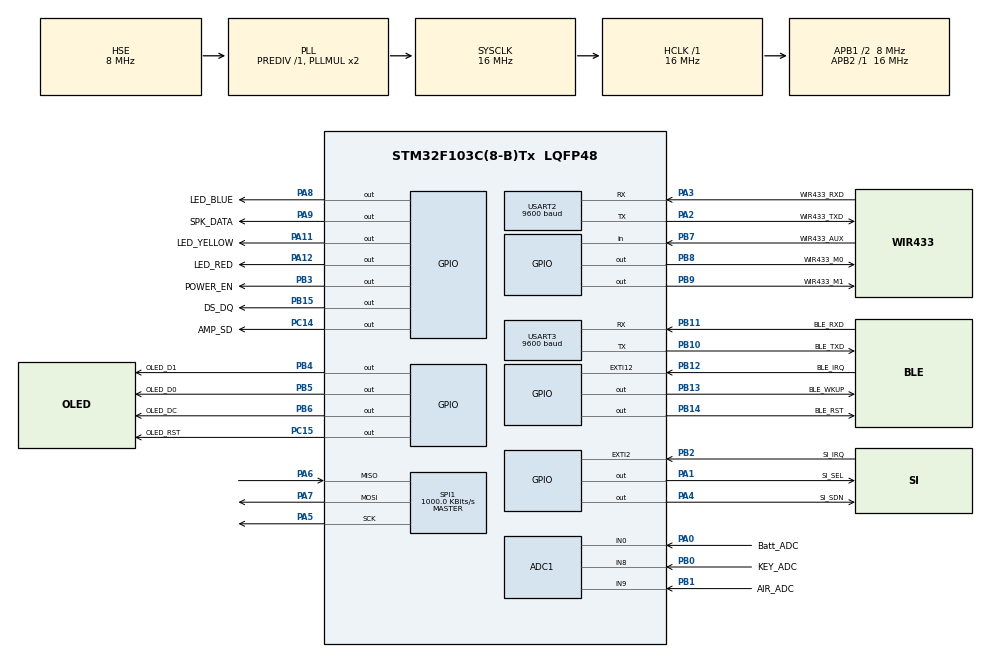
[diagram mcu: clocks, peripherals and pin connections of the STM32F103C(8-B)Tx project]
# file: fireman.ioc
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ADC1.Channel-0\#ChannelRegularConversion=ADC_CHANNEL_0
ADC1.Channel-1\#ChannelRegularConversion=ADC_CHANNEL_8
ADC1.Channel-2\#ChannelRegularConversion=ADC_CHANNEL_9
ADC1.ContinuousConvMode=ENABLE
ADC1.DataAlign=ADC_DATAALIGN_RIGHT
ADC1.DiscontinuousConvMode=DISABLE
ADC1.EnableAnalogWatchDog=false
ADC1.EnableRegularConversion=ENABLE
ADC1.ExternalTrigConv=ADC_SOFTWARE_START
ADC1.InjNumberOfConversion=0
ADC1.NbrOfConversion=3
ADC1.NbrOfConversionFlag=1
ADC1.Rank-0\#ChannelRegularConversion=1
ADC1.Rank-1\#ChannelRegularConversion=2
ADC1.Rank-2\#ChannelRegularConversion=3
ADC1.SamplingTime-0\#ChannelRegularConversion=ADC_SAMPLETIME_13CYCLES_5
ADC1.SamplingTime-1\#ChannelRegularConversion=ADC_SAMPLETIME_13CYCLES_5
ADC1.SamplingTime-2\#ChannelRegularConversion=ADC_SAMPLETIME_13CYCLES_5
ADC1.ScanConvMode=ADC_SCAN_ENABLE
ADC1.master=1
Dma.ADC1.2.Direction=DMA_PERIPH_TO_MEMORY
Dma.ADC1.2.Instance=DMA1_Channel1
Dma.ADC1.2.MemDataAlignment=DMA_MDATAALIGN_HALFWORD
Dma.ADC1.2.MemInc=DMA_MINC_ENABLE
Dma.ADC1.2.Mode=DMA_CIRCULAR
Dma.ADC1.2.PeriphDataAlignment=DMA_PDATAALIGN_HALFWORD
Dma.ADC1.2.PeriphInc=DMA_PINC_DISABLE
Dma.ADC1.2.Priority=DMA_PRIORITY_LOW
Dma.Request0=USART2_RX
Dma.Request1=USART2_TX
Dma.Request2=ADC1
Dma.Request3=USART3_RX
Dma.Request4=USART3_TX
Dma.USART2_RX.0.Direction=DMA_PERIPH_TO_MEMORY
Dma.USART2_RX.0.Instance=DMA1_Channel6
Dma.USART2_RX.0.MemDataAlignment=DMA_MDATAALIGN_BYTE
Dma.USART2_RX.0.MemInc=DMA_MINC_ENABLE
Dma.USART2_RX.0.Mode=DMA_NORMAL
Dma.USART2_RX.0.PeriphDataAlignment=DMA_PDATAALIGN_BYTE
Dma.USART2_RX.0.PeriphInc=DMA_PINC_DISABLE
Dma.USART2_RX.0.Priority=DMA_PRIORITY_LOW
Dma.USART2_TX.1.Direction=DMA_MEMORY_TO_PERIPH
Dma.USART2_TX.1.Instance=DMA1_Channel7
Dma.USART2_TX.1.MemDataAlignment=DMA_MDATAALIGN_BYTE
Dma.USART2_TX.1.MemInc=DMA_MINC_ENABLE
Dma.USART2_TX.1.Mode=DMA_NORMAL
Dma.USART2_TX.1.PeriphDataAlignment=DMA_PDATAALIGN_BYTE
Dma.USART2_TX.1.PeriphInc=DMA_PINC_DISABLE
Dma.USART2_TX.1.Priority=DMA_PRIORITY_LOW
Dma.USART3_RX.3.Direction=DMA_PERIPH_TO_MEMORY
Dma.USART3_RX.3.Instance=DMA1_Channel3
Dma.USART3_RX.3.MemDataAlignment=DMA_MDATAALIGN_BYTE
Dma.USART3_RX.3.MemInc=DMA_MINC_ENABLE
Dma.USART3_RX.3.Mode=DMA_NORMAL
Dma.USART3_RX.3.PeriphDataAlignment=DMA_PDATAALIGN_BYTE
Dma.USART3_RX.3.PeriphInc=DMA_PINC_DISABLE
Dma.USART3_RX.3.Priority=DMA_PRIORITY_LOW
Dma.USART3_TX.4.Direction=DMA_MEMORY_TO_PERIPH
Dma.USART3_TX.4.Instance=DMA1_Channel2
Dma.USART3_TX.4.MemDataAlignment=DMA_MDATAALIGN_BYTE
Dma.USART3_TX.4.MemInc=DMA_MINC_ENABLE
Dma.USART3_TX.4.Mode=DMA_NORMAL
Dma.USART3_TX.4.PeriphDataAlignment=DMA_PDATAALIGN_BYTE
Dma.USART3_TX.4.PeriphInc=DMA_PINC_DISABLE
Dma.USART3_TX.4.Priority=DMA_PRIORITY_LOW
Mcu.Family=STM32F1
Mcu.Name=STM32F103C(8-B)Tx
Mcu.Package=LQFP48
NVIC.DMA1_Channel1_IRQn=true\:0\:0\:false\:false\:true
NVIC.DMA1_Channel2_IRQn=true\:0\:0\:false\:false\:true
NVIC.DMA1_Channel3_IRQn=true\:0\:0\:false\:false\:true
NVIC.DMA1_Channel6_IRQn=true\:0\:0\:false\:false\:true
NVIC.DMA1_Channel7_IRQn=true\:0\:0\:false\:false\:true
NVIC.EXTI15_10_IRQn=true\:0\:0\:false\:false\:true
NVIC.PriorityGroup=NVIC_PRIORITYGROUP_4
NVIC.RTC_Alarm_IRQn=true\:0\:0\:false\:false\:true
NVIC.TIM1_UP_IRQn=true\:0\:0\:false\:false\:true
NVIC.USART2_IRQn=true\:0\:0\:false\:false\:true
NVIC.USART3_IRQn=true\:0\:0\:false\:false\:true
PA0-WKUP.GPIO_Label=Batt_ADC
PA0-WKUP.Signal=ADCx_IN0
PA1.GPIO_Label=SI_SEL
PA1.Signal=GPIO_Output
PA11.GPIO_Label=LED_YELLOW
PA11.Signal=GPIO_Output
PA12.GPIO_Label=LED_RED
PA12.Signal=GPIO_Output
PA13.Mode=Serial_Wire
PA13.Signal=SYS_JTMS-SWDIO
PA14.Mode=Serial_Wire
PA14.Signal=SYS_JTCK-SWCLK
PA2.GPIO_Label=WIR433_TXD
PA2.Mode=Asynchronous
PA2.Signal=USART2_TX
PA3.GPIO_Label=WIR433_RXD
PA3.Mode=Asynchronous
PA3.Signal=USART2_RX
PA4.GPIO_Label=SI_SDN
PA4.Signal=GPIO_Output
PA5.Mode=Full_Duplex_Master
PA5.Signal=SPI1_SCK
PA6.GPIO_PuPd=GPIO_PULLUP
PA6.Mode=Full_Duplex_Master
PA6.Signal=SPI1_MISO
PA7.Mode=Full_Duplex_Master
PA7.Signal=SPI1_MOSI
PA8.GPIO_Label=LED_BLUE
PA8.Signal=GPIO_Output
PA9.GPIO_Label=SPK_DATA
PA9.Signal=GPIO_Output
PB0.GPIO_Label=KEY_ADC
PB0.Signal=ADCx_IN8
PB1.GPIO_Label=AIR_ADC
PB1.Signal=ADCx_IN9
PB10.GPIO_Label=BLE_TXD
PB10.Mode=Asynchronous
PB10.Signal=USART3_TX
PB11.GPIO_Label=BLE_RXD
PB11.Mode=Asynchronous
PB11.Signal=USART3_RX
PB12.GPIO_Label=BLE_IRQ
PB12.GPIO_PuPd=GPIO_PULLUP
PB12.Signal=GPXTI12
PB13.GPIO_Label=BLE_WKUP
PB13.Signal=GPIO_Output
PB14.GPIO_Label=BLE_RST
PB14.Signal=GPIO_Output
PB15.GPIO_Label=DS_DQ
PB15.Signal=GPIO_Output
PB2.GPIO_Label=SI_IRQ
PB2.GPIO_PuPd=GPIO_PULLUP
PB2.Signal=GPXTI2
PB3.GPIO_Label=POWER_EN
PB3.Signal=GPIO_Output
PB4.GPIO_Label=OLED_D1
PB4.Signal=GPIO_Output
PB5.GPIO_Label=OLED_D0
PB5.Signal=GPIO_Output
PB6.GPIO_Label=OLED_DC
PB6.Signal=GPIO_Output
PB7.GPIO_Label=WIR433_AUX
PB7.GPIO_PuPd=GPIO_PULLUP
PB7.Signal=GPIO_Input
PB8.GPIO_Label=WIR433_M0
PB8.Signal=GPIO_Output
PB9.GPIO_Label=WIR433_M1
PB9.Signal=GPIO_Output
PC14-OSC32_IN.GPIO_Label=AMP_SD
PC14-OSC32_IN.Signal=GPIO_Output
PC15-OSC32_OUT.GPIO_Label=OLED_RST
PC15-OSC32_OUT.Signal=GPIO_Output
PD0-OSC_IN.Mode=HSE-External-Oscillator
PD0-OSC_IN.Signal=RCC_OSC_IN
PD1-OSC_OUT.Mode=HSE-External-Oscillator
PD1-OSC_OUT.Signal=RCC_OSC_OUT
ProjectManager.HeapSize=0x200
ProjectManager.StackSize=0x400
ProjectManager.TargetToolchain=MDK-ARM V5
RCC.ADCPresc=RCC_ADCPCLK2_DIV6
RCC.AHBFreq_Value=16000000
RCC.APB1CLKDivider=RCC_HCLK_DIV2
RCC.APB1Freq_Value=8000000
RCC.APB1TimFreq_Value=16000000
RCC.APB2Freq_Value=16000000
RCC.APB2TimFreq_Value=16000000
RCC.HCLKFreq_Value=16000000
RCC.PLLSourceVirtual=RCC_PLLSOURCE_HSE
RCC.SYSCLKFreq_VALUE=16000000
RCC.SYSCLKSource=RCC_SYSCLKSOURCE_PLLCLK
RCC.TimSys_Div=SYSTICK_CLKSOURCE_HCLK_DIV8
RCC.USBFreq_Value=16000000
SH.ADCx_IN0.0=ADC1_IN0,IN0
SH.ADCx_IN8.0=ADC1_IN8,IN8
SH.ADCx_IN9.0=ADC1_IN9,IN9
SPI1.BaudRatePrescaler=SPI_BAUDRATEPRESCALER_16
SPI1.CLKPhase=SPI_PHASE_1EDGE
SPI1.CalculateBaudRate=1000.0 KBits/s
SPI1.Direction=SPI_DIRECTION_2LINES
SPI1.Mode=SPI_MODE_MASTER
SPI1.VirtualType=VM_MASTER
TIM1.Period=999
TIM1.Prescaler=15
USART2.BaudRate=9600
USART2.VirtualMode=VM_ASYNC
USART3.BaudRate=9600
USART3.VirtualMode=VM_ASYNC
VP_RTC_No_RTC_Output.Mode=RTC_OUT_NO
VP_RTC_VS_RTC_Activate.Mode=RTC_Enabled
VP_TIM1_VS_ClockSourceINT.Mode=Internal
board=fireman

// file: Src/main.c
/**
  ******************************************************************************
  * File Name          : main.c
  * Description        : Main program body
  ******************************************************************************
  ** This notice applies to any and all portions of this file
  * that are not between comment pairs USER CODE BEGIN and
  * USER CODE END. Other portions of this file, whether
  * inserted by the user or by software development tools
  * are owned by their respective copyright owners.
  *
  * COPYRIGHT(c) 2018 STMicroelectronics
  *
  * Redistribution and use in source and binary forms, with or without modification,
  * are permitted provided that the following conditions are met:
  *   1. Redistributions of source code must retain the above copyright notice,
  *      this list of conditions and the following disclaimer.
  *   2. Redistributions in binary form must reproduce the above copyright notice,
  *      this list of conditions and the following disclaimer in the documentation
  *      and/or other materials provided with the distribution.
  *   3. Neither the name of STMicroelectronics nor the names of its contributors
  *      may be used to endorse or promote products derived from this software
  *      without specific prior written permission.
  *
  * THIS SOFTWARE IS PROVIDED BY THE COPYRIGHT HOLDERS AND CONTRIBUTORS "AS IS"
  * AND ANY EXPRESS OR IMPLIED WARRANTIES, INCLUDING, BUT NOT LIMITED TO, THE
  * IMPLIED WARRANTIES OF MERCHANTABILITY AND FITNESS FOR A PARTICULAR PURPOSE ARE
  * DISCLAIMED. IN NO EVENT SHALL THE COPYRIGHT HOLDER OR CONTRIBUTORS BE LIABLE
  * FOR ANY DIRECT, INDIRECT, INCIDENTAL, SPECIAL, EXEMPLARY, OR CONSEQUENTIAL
  * DAMAGES (INCLUDING, BUT NOT LIMITED TO, PROCUREMENT OF SUBSTITUTE GOODS OR
  * SERVICES; LOSS OF USE, DATA, OR PROFITS; OR BUSINESS INTERRUPTION) HOWEVER
  * CAUSED AND ON ANY THEORY OF LIABILITY, WHETHER IN CONTRACT, STRICT LIABILITY,
  * OR TORT (INCLUDING NEGLIGENCE OR OTHERWISE) ARISING IN ANY WAY OUT OF THE USE
  * OF THIS SOFTWARE, EVEN IF ADVISED OF THE POSSIBILITY OF SUCH DAMAGE.
  *
  ******************************************************************************
  */
#include "main.h"
#include "stm32f1xx_hal.h"
#include "adc.h"
#include "dma.h"
#include "rtc.h"
#include "spi.h"
#include "tim.h"
#include "usart.h"
#include "gpio.h"

/* USER CODE BEGIN Includes */
#include "oled.h"
#include "led.h"
#include "display.h"
#include "ds18b20.h"
#include "ble.h"
#include "key.h"
#include "speak.h"
#include "stm_flash.h"
#include "wir433.h"
#include "./radio.h"
#include "./radio_app.h"
#include "../src/user/type.h"
#include "../src/user/stress.h"
/* USER CODE END Includes */

/* USER CODE BEGIN PV */
/* Private variables ---------------------------------------------------------*/
uint8_t sleepFlag=0;
uint16_t adcRawDate[50][3];
uint8_t status=STATUS_OFF;
para_struct_type para_struct;
uint8_t showPageNum=PAGE_RUN_ONE;
uint8_t selectedNum=1;
uint8_t keyPressStatus;
uint8_t keyDownStatus;
uint8_t keyHoldStatus;
uint16_t offTime=0;
uint32_t index_cnt;
uint16_t lcdCloseCount = 1200;//50ms单位
uint16_t sysCloseCount =0;

/* RTC handler declaration */
RTC_HandleTypeDef RtcHandle;

/* USER CODE END PV */

void SystemClock_Config(void);

/* USER CODE BEGIN PFP */
/* Private function prototypes -----------------------------------------------*/
uint16_t getAdcAfterFilt(uint8_t chanal ,uint8_t filt);
/* USER CODE END PFP */

/* USER CODE BEGIN 0 */
int8_t menFind(uint8_t *src,uint8_t *des,uint8_t len1,uint8_t len2)
{
	uint8_t index=0,i;

	for(index=0;index<len1;index++)
	{
		if(src[index]==des[0])
		{
			for(i=1;i<len2;i++)
			{
				if(src[index+i]!=des[i])
				{
					break;
				}
			}
			if(i==len2)
				break;
		}

	}
	if(index!=len1)
	return index;
	else
		return -1;

}
void menclr(uint8_t *str1,uint8_t len)
{
	uint8_t i = 0;
	while(i<len)
	{
		str1[i]=0;
		i++;
	}
}
void mencpy(uint8_t *src,uint8_t *des,uint8_t len)
{
	uint8_t i = 0;
	while(i<len)
	{
		des[i]=src[i];
		i++;
	}
}
uint8_t mencpr(uint8_t *str1,uint8_t *str2,uint8_t len)
{
	uint8_t i = 0;
	while(i<len)
	{
		if(*str1!=*str2)
		{
				break;

		}
			str1++;
			str2++;
		i++;
	}
	return i==len?1:0;
}
uint16_t getAdcAfterFilt(uint8_t chanal , uint8_t filt)
{

	uint32_t adcDate=0;
	uint8_t i;
	if(filt == 0)
	{
	for(i = 0;i<50;i++)
	adcDate+=adcRawDate[i][chanal];
	return adcDate/50;
	}
	else{
			return adcRawDate[0][chanal];
		}
}

 //初始化参数
void paraInit(void)
{
	para_struct.pageOneInfo.airPress=0;
	para_struct.pageOneInfo.batt=0;
	para_struct.pageOneInfo.BLEflag=BLE_UNCONN;
	para_struct.pageOneInfo.HUDflag=HUD1;
	para_struct.pageOneInfo.BLE_SendInterval=2000;
	para_struct.pageOneInfo.BLE_SendTotal=0;
	para_struct.pageOneInfo.DATAflag=DATA_NO;
	para_struct.pageOneInfo.temperature=0;
	para_struct.pageOneInfo.voiceLevel=1;
	mencpy("************",para_struct.pageTwoInfo.BHTMAC,sizeof("************"));
	mencpy("00000001.22",para_struct.pageTwoInfo.GP,sizeof("00000001.22"));
	mencpy("00112233",para_struct.pageTwoInfo.SN,sizeof("00112233"));
	mencpy("00000000",para_struct.pageTwoInfo.HUD,sizeof("00000000"));
	para_struct.pageThreeInfo.AirF0=0;
	para_struct.pageThreeInfo.AirF1=100;
	para_struct.pageThreeInfo.AirF2=300;
	para_struct.pageThreeInfo.BLE_Switch=2;
	para_struct.pageThreeInfo.DateSwitch=2;
	para_struct.pageThreeInfo.serialRate=4;
	para_struct.pageThreeInfo.airRate=3;
	para_struct.pageThreeInfo.FFC=1;
	para_struct.pageThreeInfo.poweSet=0;
	para_struct.pageThreeInfo.serialRate = 4;
	para_struct.pageThreeInfo.airRate = 3;
	para_struct.pageThreeInfo.FFC = 1;
	para_struct.pageThreeInfo.poweSet = 0;
	mencpy("20180101",para_struct.pageThreeInfo.DATE,sizeof("20180101"));
  mencpy("1.0.1",para_struct.pageThreeInfo.Version,sizeof("1.0.1"));
}

/**
  * @brief  Configure the current time and date.
  * @param  None
  * @retval None
  */
  void RTC_AlarmConfig(void)
{
  RTC_DateTypeDef  sdatestructure_set = {0};
  RTC_TimeTypeDef  stimestructure = {0};
  RTC_AlarmTypeDef salarmstructure = {{0}, 0};

	  /*##-1- Configure the RTC peripheral #######################################*/
  RtcHandle.Instance = RTC;
  /*##-1- Configure the Date #################################################*/
  /* Set Date: October 31th 2014 */
  sdatestructure_set.Year = 0x14;
  sdatestructure_set.Month = RTC_MONTH_OCTOBER;
  sdatestructure_set.Date = 0x31;

  if(HAL_RTC_SetDate(&RtcHandle,&sdatestructure_set,RTC_FORMAT_BCD) != HAL_OK)
  {
    /* Initialization Error */
     Error_Handler();
  }

  /*##-2- Configure the Time #################################################*/
  /* Set Time: 23:59:55 */
  stimestructure.Hours = 0x23;
  stimestructure.Minutes = 0x59;
  stimestructure.Seconds = 0x55;
  if(HAL_RTC_SetTime(&RtcHandle,&stimestructure,RTC_FORMAT_BCD) != HAL_OK)
  {
    /* Initialization Error */
     Error_Handler();
  }

  /*##-3- Configure the RTC Alarm peripheral #################################*/
  /* Set Alarm to 00:00:10
     RTC Alarm Generation: Alarm on Hours, Minutes and Seconds */
  salarmstructure.Alarm = RTC_ALARM_A;
  salarmstructure.AlarmTime.Hours = 0x00;
  salarmstructure.AlarmTime.Minutes = 0x00;
  salarmstructure.AlarmTime.Seconds = 0x10;

  if(HAL_RTC_SetAlarm_IT(&RtcHandle,&salarmstructure,RTC_FORMAT_BCD) != HAL_OK)
  {
    /* Initialization Error */
     Error_Handler();
  }
}
void beforSleep(void)
{
	  GPIO_InitTypeDef GPIO_InitStructure;

  /* Enable GPIOs clock */
  __HAL_RCC_GPIOA_CLK_ENABLE();
  __HAL_RCC_GPIOB_CLK_ENABLE();
  __HAL_RCC_GPIOC_CLK_ENABLE();
  __HAL_RCC_GPIOD_CLK_ENABLE();
  __HAL_RCC_GPIOE_CLK_ENABLE();

  /* Configure all GPIO port pins in Analog Input mode (floating input trigger OFF) */
  /* Note: Debug using ST-Link is not possible during the execution of this   */
  /*       example because communication between ST-link and the device       */
  /*       under test is done through UART. All GPIO pins are disabled (set   */
  /*       to analog input mode) including  UART I/O pins.           */
  GPIO_InitStructure.Pin = GPIO_PIN_All;
  GPIO_InitStructure.Mode = GPIO_MODE_ANALOG;
  GPIO_InitStructure.Pull = GPIO_NOPULL;

  HAL_GPIO_Init(GPIOA, &GPIO_InitStructure);
  HAL_GPIO_Init(GPIOB, &GPIO_InitStructure);
  HAL_GPIO_Init(GPIOC, &GPIO_InitStructure);
  HAL_GPIO_Init(GPIOD, &GPIO_InitStructure);
  HAL_GPIO_Init(GPIOE, &GPIO_InitStructure);
//  GPIO_InitStructure.Pin = AMP_SD_Pin;
//  GPIO_InitStructure.Mode = GPIO_MODE_OUTPUT_PP;
//	GPIO_InitStructure.Speed=GPIO_SPEED_FREQ_LOW;
//  HAL_GPIO_Init(AMP_SD_GPIO_Port, &GPIO_InitStructure);
//	HAL_GPIO_WritePin(AMP_SD_GPIO_Port,AMP_SD_Pin,SET);
  /* Disable GPIOs clock */
  __HAL_RCC_GPIOA_CLK_DISABLE();
  __HAL_RCC_GPIOB_CLK_DISABLE();
  __HAL_RCC_GPIOC_CLK_DISABLE();
  __HAL_RCC_GPIOD_CLK_DISABLE();
  __HAL_RCC_GPIOE_CLK_DISABLE();
	RTC_AlarmConfig();

}

/* USER CODE END 0 */

int main(void)
{

  /* USER CODE BEGIN 1 */
   uint8_t turnOffStep = 0;uint8_t temp_i ;
  /* USER CODE END 1 */

  /* MCU Configuration----------------------------------------------------------*/

  /* Reset of all peripherals, Initializes the Flash interface and the Systick. */
  HAL_Init();

  /* Configure the system clock */
  SystemClock_Config();

  /* Initialize all configured peripherals */
  MX_GPIO_Init();
  MX_DMA_Init();
  MX_ADC1_Init();
  MX_SPI1_Init();
  MX_USART2_UART_Init();
  MX_TIM1_Init();
  MX_RTC_Init();
  MX_USART3_UART_Init();

  /* USER CODE BEGIN 2 */
 	 HAL_GPIO_WritePin(POWER_EN_GPIO_Port,POWER_EN_Pin,GPIO_PIN_SET);

	 register_led(LED_BLE,LED_BLUE_GPIO_Port,LED_BLUE_Pin,GPIO_PIN_SET);
	 register_led(LED_HIPOWER,LED_YELLOW_GPIO_Port,LED_YELLOW_Pin,GPIO_PIN_SET);
	 register_led(LED_LOPOWER,LED_RED_GPIO_Port,LED_RED_Pin,GPIO_PIN_SET);
	 HAL_TIM_Base_Start_IT(&htim1);
	 HAL_ADC_Start_DMA(&hadc1,(uint32_t*)&adcRawDate,150);
	 StartTimer(TIMERSTATUS_Machine,10);
	 radio_hal_SetNsel();
	 HAL_SPI_Transmit(&hspi1,&selectedNum,1,100);

  /* USER CODE END 2 */

  /* Infinite loop */
  while (1)
  {

  /* USER CODE BEGIN 3 */
	bRadio_Check_Tx_RX();
		if(sleepFlag)
		{
			   	 HAL_PWR_EnterSLEEPMode(0, PWR_SLEEPENTRY_WFI);
		}
		if(ReadTimer(TIMERSTATUS_Machine)==OK)
		{
			StartTimer(TIMERSTATUS_Machine,100);
			para_struct.pageThreeInfo.runTime++;
			// vRadio_StartTx_Variable_Packet(23,"zhoukundsadadas",sizeof("zhoukundsadadas"));
			switch(status)
			{
				case STATUS_IDLE:
					status = STATUS_ON;
				  StartTimer(TIMER_DS18B20,1000);
					StartTimer(TIMER_LCD,50);
					StartTimer(TIMER_BLE,200);
			  	StartTimer(TIMER_WIR433,100);
					StartTimer(TIMER_BATT_Test,200);
					STMFLASH_Read( FLASH_BASE+60*1024, (uint16_t *) &para_struct, sizeof(para_struct)/2 );           //从指定地址开始读出指定长度的数据
				if(para_struct.pageThreeInfo.Version[0]==0xff)
					{
						paraInit();
						STMFLASH_Write( FLASH_BASE+60*1024, (uint16_t *) &para_struct, sizeof(para_struct)/2 );
					}
					HAL_GPIO_WritePin(POWER_EN_GPIO_Port,POWER_EN_Pin,GPIO_PIN_SET);
					HAL_GPIO_WritePin(AMP_SD_GPIO_Port,AMP_SD_Pin,GPIO_PIN_SET);
					OLED_Init();

					init_WIR433(20);
					turnOnWir433();
				  initBLE();
					para_struct.pageThreeInfo.runTime=0;

					radioAppInit();
					HAL_GPIO_WritePin(SPK_DATA_GPIO_Port,SPK_DATA_Pin,GPIO_PIN_SET);

					para_struct.pageOneInfo.airPress =getStress(getAdcAfterFilt(AIR_ADC_CH,0));
					para_struct.pageOneInfo.batt=para_struct.pageOneInfo.batt*0.9+(getAdcAfterFilt(BATT_ADC_CH,0)*660/4096);
					break;
				case STATUS_OFF:	//goto low power mode and wakeup every 10 secends
								STMFLASH_Read( FLASH_BASE+60*1024, (uint16_t *) &para_struct, sizeof(para_struct)/2 );
								DelayTimer(50);
							  set_Init(getAdcAfterFilt(AIR_ADC_CH,1));
								para_struct.pageOneInfo.airPress =getStress( getAdcAfterFilt(AIR_ADC_CH,1));
						    para_struct.pageOneInfo.batt=getAdcAfterFilt(BATT_ADC_CH,1)*660/4096;

								deal_key_event();//预处理按键
								if(para_struct.pageOneInfo.airPress>150||((keyDownStatus&KEY5)==KEY5))
								{
									keyDownStatus=0;keyHoldStatus=0;
									HAL_GPIO_WritePin(POWER_EN_GPIO_Port,POWER_EN_Pin,GPIO_PIN_RESET);
									status=STATUS_IDLE;
								}
								else
								{
									 beforSleep();
									/* Clear all related wakeup flags */
								 	__HAL_PWR_CLEAR_FLAG(PWR_FLAG_WU);
									/* Enter the Standby mode */
								  	HAL_PWR_EnterSTANDBYMode();
								}
					break;
				case STATUS_ON:

				if(ReadTimer(TIMER_WIR433)==OK)
					{
						wir433Task();
						StartTimer(TIMER_WIR433,100);
					  spkTask();
						radioTask();
					}
					if(ReadTimer(TIMER_BLE)==OK)
					{
					 	bleTask();
					}
					if(ReadTimer(TIMER_BATT_Test)==OK)
					{
						StartTimer(TIMER_BATT_Test,200);
						para_struct.pageOneInfo.airPress =getStress(getAdcAfterFilt(AIR_ADC_CH,0));
						para_struct.pageOneInfo.batt=para_struct.pageOneInfo.batt*0.9+(getAdcAfterFilt(BATT_ADC_CH,0)*660/4096);
						if(para_struct.pageOneInfo.airPress<150)
						{
							offTime++; // 调试取消关机
							if(offTime>900)//气压低关机
							{
								if(turnOffStep==0)
								{
									turnOffStep++;
									turnOffWir433();
								}
								else
								{
								if( getWirStatus() == STATUS_WIR_IDLE ||getWirStatus()==STATUS_WIR_OFF )//等待关机完成
									{
										offTime=0;
										status = STATUS_OFF;
									}
								}
							}
						}
						else
						{
							offTime=0;
						}
						if(para_struct.pageOneInfo.batt>370)
						{
							stopLed(LED_LOPOWER);
							startLed(LED_HIPOWER,1000,300);
						}
						else{
								stopLed(LED_HIPOWER);
								startLed(LED_LOPOWER,5000,1500);
						}
					}
				  if(runTemperature()!=10000)
					{
 					 	para_struct.pageOneInfo.temperature = get_data();
					}
					if(ReadTimer(TIMER_LCD)==OK)
					{
						StartTimer(TIMER_LCD,100);
						if((keyHoldStatus&KEY1)==KEY1)
						{
							keyHoldStatus=0;
							status =STATUS_PAIR;
							LCD_CLS();
							radioPair();
							startLed(LED_BLE,500,200);
							LCD_Print(0,3,"     对码中....");
							break;
						}
						//音量设置
						if((keyHoldStatus&KEY2)==KEY2)
						{
							while(key_check(3) != KEY_UP);
							para_struct.pageOneInfo.voiceLevel++;
							if(para_struct.pageOneInfo.voiceLevel>=4)
								para_struct.pageOneInfo.voiceLevel=1;
							setVoice(para_struct.pageOneInfo.voiceLevel);
							STMFLASH_Write( FLASH_BASE+60*1024, (uint16_t *) &para_struct, sizeof(para_struct)/2 );
							keyPressStatus=0;
							keyHoldStatus=0;
						}
						if((keyHoldStatus&KEY3)==KEY3)
						{
							keyHoldStatus=0;
							status =STATUS_SET_SEL;
							LCD_CLS();
							showPageSetSel(1);
							selectedNum=1;
							break;
						}
						if((keyPressStatus&KEY2)==KEY2)
						{
							keyPressStatus=0;

							if(showPageNum==PAGE_RUN_THREE)
								showPageNum=PAGE_RUN_ONE;
							else
								showPageNum++;
							LCD_CLS();
						}
						//无按键则关闭屏幕省电
						if(lcdCloseCount >1)
						{
							lcdCloseCount--;
							if(showPageNum==PAGE_RUN_ONE)
							{
								if((keyHoldStatus&KEY5)==KEY5 && offTime >15)
								{
									keyHoldStatus=0;
									offTime = 900;
								}

								showPageOne(&para_struct.pageOneInfo);
							}
							else if(showPageNum==PAGE_RUN_TWO)
							{
								showPageTwo(&para_struct.pageTwoInfo);
							}
							else if(showPageNum==PAGE_RUN_THREE)
							{
								showPageThree(&para_struct.pageThreeInfo);
							}
						}
						else
						{
							if(lcdCloseCount==1)
							{
								lcdCloseCount=0;
								LCD_CLS();
							}
						}
					}
					break;
				case STATUS_PAIR:
							if(ReadTimer(TIMER_WIR433)==OK)
							{
								StartTimer(TIMER_WIR433,100);
								radioTask();
							}
							if(getPairStatus()==1)
							{
								LCD_Print(0,3,"     对码:      ");
								LCD_Print(24,6,para_struct.pageTwoInfo.HUD);
								DelayTimer(1000);
								status =STATUS_ON;
								LCD_CLS();
								keyHoldStatus=0;
							}
					break;
				case STATUS_SET_SEL:

					if((keyHoldStatus&KEY3)==KEY3)
						{LCD_CLS();
							keyHoldStatus=0;
							LCD_Print(0,3,"     RESET?      ");
							while(1)
							{
									if((keyPressStatus&KEY4)==KEY4)
									{
										LCD_Print(0,3,"   RESETING...    ");
										keyPressStatus=0;
										paraInit();
										STMFLASH_Write( FLASH_BASE+60*1024, (uint16_t *) &para_struct, sizeof(para_struct)/2 );
										break;
									}
									if((keyPressStatus&KEY5)==KEY5)
									{
										keyPressStatus=0;
										break;
									}
							}
							LCD_CLS();
							showPageSetSel(selectedNum);
						}
					if((keyPressStatus&KEY2)==KEY2)
						{
							CLR_Arr();
							keyPressStatus=0;
							selectedNum++;
							if(selectedNum>4)
								selectedNum=1;
							showPageSetSel(selectedNum);
						}
						if((keyPressStatus&KEY5)==KEY5)
						{
							LCD_CLS();
							keyPressStatus=0;
							status =STATUS_ON;
						}
						if((keyPressStatus&KEY4)==KEY4)
						{
							LCD_CLS();
							keyPressStatus=0;
							switch(selectedNum)
							{
								case 1:status = STATUS_SET_HUD;
												selectedNum=1;
												showPageSetHUD(selectedNum);
									break;
								case 2:status = STATUS_SET_BLE;
												selectedNum=1;
												showPageSetBLE(selectedNum);
									break;
								case 3:status = STATUS_SET_DATA;
												selectedNum=1;
												showPageSetDATA(selectedNum);
									break;
								case 4:status = STATUS_SET_AIRPRESS_CAL;
												selectedNum=1;
												showPageSetCal(selectedNum);
									break;
								default:break;
							}
						}
					break;
				case STATUS_SET_HUD:
											if((keyPressStatus&KEY4)==KEY4)
												{

													keyPressStatus=0;
													para_struct.pageOneInfo.HUDflag=selectedNum;showPageSetHUD(selectedNum);
													STMFLASH_Write( FLASH_BASE+60*1024, (uint16_t *) &para_struct, sizeof(para_struct)/2 );
												}
											if((keyPressStatus&KEY2)==KEY2)
												{
													CLR_Arr();
													keyPressStatus=0;
													selectedNum++;
													if(selectedNum>2)
														selectedNum=1;
												showPageSetHUD(selectedNum);
												}
												if((keyPressStatus&KEY5)==KEY5)
												{
													LCD_CLS();
													keyPressStatus=0;
													status =STATUS_SET_SEL;
													selectedNum=1;
													showPageSetSel(selectedNum);
												}
					break;
				case STATUS_SET_BLE:
											if((keyPressStatus&KEY4)==KEY4)
												{

													keyPressStatus=0;
													para_struct.pageThreeInfo.BLE_Switch=selectedNum;	showPageSetBLE(selectedNum);
													STMFLASH_Write( FLASH_BASE+60*1024, (uint16_t *) &para_struct, sizeof(para_struct)/2 );
												}
											if((keyPressStatus&KEY2)==KEY2)
												{
													CLR_Arr();
													keyPressStatus=0;
													selectedNum++;
													if(selectedNum>2)
														selectedNum=1;
												showPageSetBLE(selectedNum);
												}
												if((keyPressStatus&KEY5)==KEY5)
												{
													LCD_CLS();
													keyPressStatus=0;
													status =STATUS_SET_SEL;
													selectedNum=2;
													showPageSetSel(selectedNum);
												}
					break;
				case STATUS_SET_DATA:
										if((keyPressStatus&KEY4)==KEY4)
												{

													keyPressStatus=0;
													para_struct.pageThreeInfo.DateSwitch=selectedNum;showPageSetDATA(selectedNum);
													STMFLASH_Write( FLASH_BASE+60*1024, (uint16_t *) &para_struct, sizeof(para_struct)/2 );
														if(para_struct.pageThreeInfo.DateSwitch==2)
															{
																if(para_struct.pageOneInfo.DATAflag!=DATA_NO){
																			para_struct.pageOneInfo.DATAflag=DATA_NO;
																			setMode(3);
																}
															}else{
																para_struct.pageOneInfo.DATAflag=DATA_UNCONN;
																init_WIR433(20);
																setMode(0);
															}

												}
											if((keyPressStatus&KEY2)==KEY2)
												{
													CLR_Arr();
													keyPressStatus=0;
													selectedNum++;
													if(selectedNum>2)
														selectedNum=1;
												showPageSetDATA(selectedNum);

												}
												if((keyPressStatus&KEY5)==KEY5)
												{
													LCD_CLS();
													keyPressStatus=0;
													status =STATUS_SET_SEL;
													selectedNum=3;
													showPageSetSel(selectedNum);
												}

					break;
				case STATUS_SET_AIRPRESS_CAL:
											if((keyPressStatus&KEY2)==KEY2)
												{
													CLR_Arr();
													keyPressStatus=0;
													selectedNum++;
													if(selectedNum>4)
														selectedNum=1;
												showPageSetCal(selectedNum);
												}
												if((keyPressStatus&KEY5)==KEY5)
												{
													LCD_CLS();
													keyPressStatus=0;
													status =STATUS_SET_SEL;
													selectedNum=4;
													showPageSetSel(selectedNum);
												}
											if((keyPressStatus&KEY4)==KEY4)
												{

													keyPressStatus=0;
													switch(selectedNum)
													{

														case 1:   para_struct.pageThreeInfo.AirF0 = getAdcAfterFilt(AIR_ADC_CH,0);
																			LCD_CLS();LCD_Print(0,3,"    标定中....");
																			for(temp_i=0;temp_i<10;temp_i++)
																			{

																				Dis_Num(5,5,para_struct.pageThreeInfo.AirF0,4);DelayTimer(100);
																			}

																			LCD_CLS();LCD_Print(0,3,"   F0 0Mpa标定");
																			DelayTimer(500);LCD_CLS();showPageSetCal(selectedNum);
															break;
														case 2:		para_struct.pageThreeInfo.AirF1 = getAdcAfterFilt(AIR_ADC_CH,0);
																			LCD_CLS();LCD_Print(0,3,"    标定中....");
																			for(temp_i=0;temp_i<10;temp_i++)
																			{

																				Dis_Num(5,5,para_struct.pageThreeInfo.AirF1,4);DelayTimer(100);
																			}
																			LCD_CLS();LCD_Print(0,3,"   F1 10Mpa标定");
																			DelayTimer(500);LCD_CLS();showPageSetCal(selectedNum);
															break;
														case 3:		para_struct.pageThreeInfo.AirF2 = getAdcAfterFilt(AIR_ADC_CH,0);
																			LCD_CLS();LCD_Print(0,3,"     标定中....");
																			for(temp_i=0;temp_i<10;temp_i++)
																			{

																				Dis_Num(5,5,para_struct.pageThreeInfo.AirF2,4);DelayTimer(100);
																			}
																			LCD_CLS();LCD_Print(0,3,"   F2 30Mpa标定");
																			DelayTimer(500);LCD_CLS();showPageSetCal(selectedNum);
															break;
														case 4:  index_cnt=1; ;status = STATUS_SET_SN;
																		 changeSN((char *)&para_struct.pageTwoInfo.SN,index_cnt);
															break;
														default:break;
													}
												STMFLASH_Write( FLASH_BASE+60*1024, (uint16_t *) &para_struct, sizeof(para_struct)/2 );
												}
					break;
					case STATUS_SET_SN:
											if((keyPressStatus&KEY1)==KEY1)
												{
													keyPressStatus=0;

													index_cnt+=1;
													if(index_cnt==9)
													{
														index_cnt=1;
													}
												changeSN((char *)&para_struct.pageTwoInfo.SN,index_cnt);
												}
												if((keyPressStatus&KEY2)==KEY2)
												{
													keyPressStatus=0;
													para_struct.pageTwoInfo.SN[8-index_cnt]+=1;
													if(para_struct.pageTwoInfo.SN[8-index_cnt]>'9')
													{
														para_struct.pageTwoInfo.SN[8-index_cnt]='0';
													}
												changeSN((char *)&para_struct.pageTwoInfo.SN,index_cnt);
												}
												if((keyPressStatus&KEY4)==KEY4)
												{
													LCD_CLS();
													keyPressStatus=0;
													status =STATUS_SET_SEL;
													selectedNum=4;
													showPageSetSel(selectedNum);
													STMFLASH_Write( FLASH_BASE+60*1024, (uint16_t *) &para_struct, sizeof(para_struct)/2 );
												}
												if((keyPressStatus&KEY5)==KEY5)
												{
													LCD_CLS();
													keyPressStatus=0;
													status =STATUS_SET_SEL;
													selectedNum=4;
													showPageSetSel(selectedNum);
												}
					break;
				default:break;

			}
		}
  }
  /* USER CODE END 3 */

}

/** System Clock Configuration
*/
void SystemClock_Config(void)
{

  RCC_OscInitTypeDef RCC_OscInitStruct;
  RCC_ClkInitTypeDef RCC_ClkInitStruct;
  RCC_PeriphCLKInitTypeDef PeriphClkInit;

    /**Initializes the CPU, AHB and APB busses clocks
    */
  RCC_OscInitStruct.OscillatorType = RCC_OSCILLATORTYPE_LSI|RCC_OSCILLATORTYPE_HSE;
  RCC_OscInitStruct.HSEState = RCC_HSE_ON;
  RCC_OscInitStruct.HSEPredivValue = RCC_HSE_PREDIV_DIV1;
  RCC_OscInitStruct.HSIState = RCC_HSI_ON;
  RCC_OscInitStruct.LSIState = RCC_LSI_ON;
  RCC_OscInitStruct.PLL.PLLState = RCC_PLL_ON;
  RCC_OscInitStruct.PLL.PLLSource = RCC_PLLSOURCE_HSE;
  RCC_OscInitStruct.PLL.PLLMUL = RCC_PLL_MUL2;
  if (HAL_RCC_OscConfig(&RCC_OscInitStruct) != HAL_OK)
  {
    _Error_Handler(__FILE__, __LINE__);
  }

    /**Initializes the CPU, AHB and APB busses clocks
    */
  RCC_ClkInitStruct.ClockType = RCC_CLOCKTYPE_HCLK|RCC_CLOCKTYPE_SYSCLK
                              |RCC_CLOCKTYPE_PCLK1|RCC_CLOCKTYPE_PCLK2;
  RCC_ClkInitStruct.SYSCLKSource = RCC_SYSCLKSOURCE_PLLCLK;
  RCC_ClkInitStruct.AHBCLKDivider = RCC_SYSCLK_DIV1;
  RCC_ClkInitStruct.APB1CLKDivider = RCC_HCLK_DIV2;
  RCC_ClkInitStruct.APB2CLKDivider = RCC_HCLK_DIV1;

  if (HAL_RCC_ClockConfig(&RCC_ClkInitStruct, FLASH_LATENCY_0) != HAL_OK)
  {
    _Error_Handler(__FILE__, __LINE__);
  }

  PeriphClkInit.PeriphClockSelection = RCC_PERIPHCLK_RTC|RCC_PERIPHCLK_ADC;
  PeriphClkInit.RTCClockSelection = RCC_RTCCLKSOURCE_LSI;
  PeriphClkInit.AdcClockSelection = RCC_ADCPCLK2_DIV6;
  if (HAL_RCCEx_PeriphCLKConfig(&PeriphClkInit) != HAL_OK)
  {
    _Error_Handler(__FILE__, __LINE__);
  }

    /**Configure the Systick interrupt time
    */
  HAL_SYSTICK_Config(HAL_RCC_GetHCLKFreq()/8000);

    /**Configure the Systick
    */
  HAL_SYSTICK_CLKSourceConfig(SYSTICK_CLKSOURCE_HCLK_DIV8);

  /* SysTick_IRQn interrupt configuration */
  HAL_NVIC_SetPriority(SysTick_IRQn, 0, 0);
}

void _Error_Handler(char * file, int line)
{
  while(1)
  {
  }
}

/************************ (C) COPYRIGHT STMicroelectronics *****END OF FILE****/
